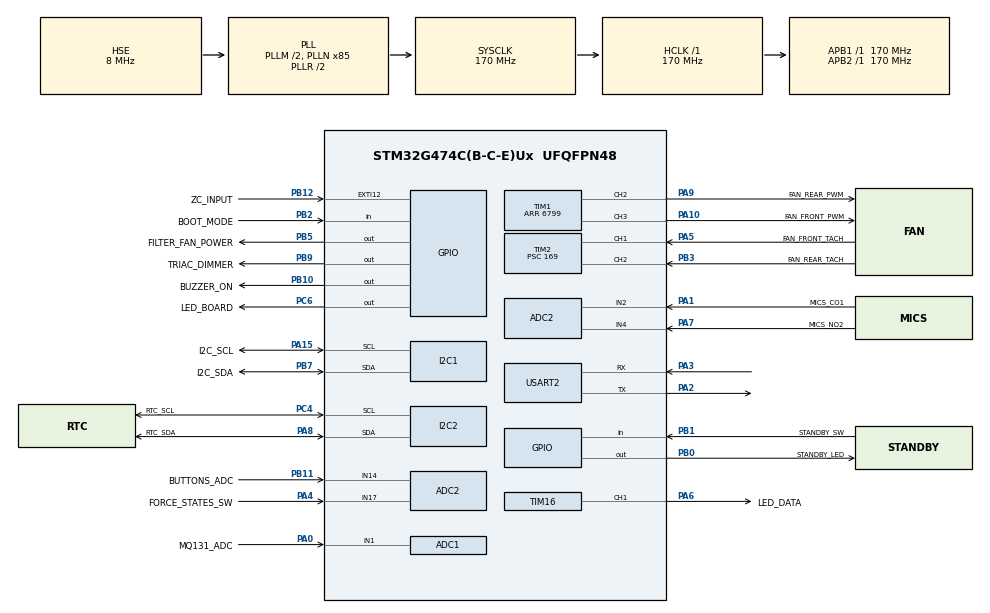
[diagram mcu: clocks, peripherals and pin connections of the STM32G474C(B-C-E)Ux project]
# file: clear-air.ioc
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ADC1.Channel-0\#ChannelRegularConversion=ADC_CHANNEL_1
ADC1.ClockPrescaler=ADC_CLOCK_SYNC_PCLK_DIV4
ADC1.NbrOfConversionFlag=1
ADC1.OffsetNumber-0\#ChannelRegularConversion=ADC_OFFSET_NONE
ADC1.Rank-0\#ChannelRegularConversion=1
ADC1.SamplingTime-0\#ChannelRegularConversion=ADC_SAMPLETIME_640CYCLES_5
ADC1.master=1
ADC2.Channel-0\#ChannelRegularConversion=ADC_CHANNEL_2
ADC2.Channel-1\#ChannelRegularConversion=ADC_CHANNEL_4
ADC2.Channel-2\#ChannelRegularConversion=ADC_CHANNEL_14
ADC2.Channel-3\#ChannelRegularConversion=ADC_CHANNEL_17
ADC2.ClockPrescaler=ADC_CLOCK_SYNC_PCLK_DIV4
ADC2.NbrOfConversion=4
ADC2.NbrOfConversionFlag=1
ADC2.OffsetNumber-0\#ChannelRegularConversion=ADC_OFFSET_NONE
ADC2.OffsetNumber-1\#ChannelRegularConversion=ADC_OFFSET_NONE
ADC2.OffsetNumber-2\#ChannelRegularConversion=ADC_OFFSET_NONE
ADC2.OffsetNumber-3\#ChannelRegularConversion=ADC_OFFSET_NONE
ADC2.Rank-0\#ChannelRegularConversion=1
ADC2.Rank-1\#ChannelRegularConversion=2
ADC2.Rank-2\#ChannelRegularConversion=3
ADC2.Rank-3\#ChannelRegularConversion=4
ADC2.SamplingTime-0\#ChannelRegularConversion=ADC_SAMPLETIME_640CYCLES_5
ADC2.SamplingTime-1\#ChannelRegularConversion=ADC_SAMPLETIME_640CYCLES_5
ADC2.SamplingTime-2\#ChannelRegularConversion=ADC_SAMPLETIME_640CYCLES_5
ADC2.SamplingTime-3\#ChannelRegularConversion=ADC_SAMPLETIME_640CYCLES_5
Dma.ADC2.1.Direction=DMA_PERIPH_TO_MEMORY
Dma.ADC2.1.EventEnable=DISABLE
Dma.ADC2.1.Instance=DMA1_Channel1
Dma.ADC2.1.MemDataAlignment=DMA_MDATAALIGN_WORD
Dma.ADC2.1.MemInc=DMA_MINC_ENABLE
Dma.ADC2.1.Mode=DMA_NORMAL
Dma.ADC2.1.PeriphDataAlignment=DMA_PDATAALIGN_WORD
Dma.ADC2.1.PeriphInc=DMA_PINC_DISABLE
Dma.ADC2.1.Polarity=HAL_DMAMUX_REQ_GEN_RISING
Dma.ADC2.1.Priority=DMA_PRIORITY_LOW
Dma.ADC2.1.RequestNumber=1
Dma.ADC2.1.SignalID=NONE
Dma.ADC2.1.SyncEnable=DISABLE
Dma.ADC2.1.SyncPolarity=HAL_DMAMUX_SYNC_NO_EVENT
Dma.ADC2.1.SyncRequestNumber=1
Dma.ADC2.1.SyncSignalID=NONE
Dma.Request0=TIM16_CH1
Dma.Request1=ADC2
Dma.TIM16_CH1.0.Direction=DMA_MEMORY_TO_PERIPH
Dma.TIM16_CH1.0.EventEnable=DISABLE
Dma.TIM16_CH1.0.Instance=DMA1_Channel2
Dma.TIM16_CH1.0.MemDataAlignment=DMA_MDATAALIGN_HALFWORD
Dma.TIM16_CH1.0.MemInc=DMA_MINC_ENABLE
Dma.TIM16_CH1.0.Mode=DMA_NORMAL
Dma.TIM16_CH1.0.PeriphDataAlignment=DMA_PDATAALIGN_HALFWORD
Dma.TIM16_CH1.0.PeriphInc=DMA_PINC_DISABLE
Dma.TIM16_CH1.0.Polarity=HAL_DMAMUX_REQ_GEN_RISING
Dma.TIM16_CH1.0.Priority=DMA_PRIORITY_LOW
Dma.TIM16_CH1.0.RequestNumber=1
Dma.TIM16_CH1.0.SignalID=NONE
Dma.TIM16_CH1.0.SyncEnable=DISABLE
Dma.TIM16_CH1.0.SyncPolarity=HAL_DMAMUX_SYNC_NO_EVENT
Dma.TIM16_CH1.0.SyncRequestNumber=1
Dma.TIM16_CH1.0.SyncSignalID=NONE
FREERTOS.Queues01=SensorEvents,42,struct CommonMessage,0,Dynamic,NULL,NULL
FREERTOS.Tasks01=defaultTask,24,256,StartDefaultTask,Default,NULL,Dynamic,NULL,NULL;bmeTask,25,512,bmeTaskHandler,As external,NULL,Dynamic,NULL,NULL;msgLoopTask,24,256,mainSensorsMsgLoop,As external,NULL,Dynamic,NULL,NULL;co1no2Task,25,256,co1no2TaskHandler,As external,NULL,Dynamic,NULL,NULL;particleTask,24,512,particleTaskHandler,As external,NULL,Dynamic,NULL,NULL;o3Task,24,512,o3TaskHandler,As external,NULL,Dynamic,NULL,NULL;rtcTask,8,256,rtcTaskHandler,As external,NULL,Dynamic,NULL,NULL
FREERTOS.configCHECK_FOR_STACK_OVERFLOW=2
FREERTOS.configTOTAL_HEAP_SIZE=16384
I2C1.Timing=0x40B285C2
I2C2.Timing=0x40B285C2
Mcu.Family=STM32G4
Mcu.Name=STM32G474C(B-C-E)Ux
Mcu.Package=UFQFPN48
NVIC.DMA1_Channel1_IRQn=true\:5\:0\:false\:false\:true\:true\:false\:true\:true
NVIC.DMA1_Channel2_IRQn=true\:5\:0\:false\:false\:true\:true\:false\:true\:true
NVIC.EXTI15_10_IRQn=true\:5\:0\:false\:false\:true\:true\:true\:true\:true
NVIC.PriorityGroup=NVIC_PRIORITYGROUP_4
NVIC.TIM2_IRQn=true\:5\:0\:false\:false\:true\:true\:true\:true\:true
NVIC.TIM3_IRQn=true\:5\:0\:true\:false\:true\:true\:true\:true\:true
NVIC.TIM6_DAC_IRQn=true\:15\:0\:false\:false\:true\:false\:false\:true\:true
NVIC.TimeBase=TIM6_DAC_IRQn
NVIC.TimeBaseIP=TIM6
NVIC.USART2_IRQn=true\:10\:0\:true\:false\:true\:true\:true\:true\:true
PA0.GPIO_Label=MQ131_ADC
PA0.Mode=IN1-Single-Ended
PA0.Signal=ADC1_IN1
PA1.GPIO_Label=MICS_CO1
PA1.Mode=IN2-Single-Ended
PA1.Signal=ADC2_IN2
PA10.GPIO_Label=FAN_FRONT_PWM
PA10.Signal=S_TIM1_CH3
PA13.Mode=Serial_Wire
PA13.Signal=SYS_JTMS-SWDIO
PA14.Mode=Serial_Wire
PA14.Signal=SYS_JTCK-SWCLK
PA15.GPIO_Label=I2C_SCL
PA15.Mode=I2C
PA15.Signal=I2C1_SCL
PA2.Mode=Asynchronous
PA2.Signal=USART2_TX
PA3.Mode=Asynchronous
PA3.Signal=USART2_RX
PA4.GPIO_Label=FORCE_STATES_SW
PA4.Mode=IN17-Single-Ended
PA4.Signal=ADC2_IN17
PA5.GPIO_Label=FAN_FRONT_TACH
PA5.Signal=S_TIM2_CH1
PA6.GPIO_Label=LED_DATA
PA6.Signal=S_TIM16_CH1
PA7.GPIO_Label=MICS_NO2
PA7.Mode=IN4-Single-Ended
PA7.Signal=ADC2_IN4
PA8.GPIO_Label=RTC_SDA
PA8.Mode=I2C
PA8.Signal=I2C2_SDA
PA9.GPIO_Label=FAN_REAR_PWM
PA9.Signal=S_TIM1_CH2
PB0.GPIO_Label=STANDBY_LED
PB0.PinState=GPIO_PIN_SET
PB0.Signal=GPIO_Output
PB1.GPIO_Label=STANDBY_SW
PB1.GPIO_PuPd=GPIO_PULLUP
PB1.Signal=GPIO_Input
PB10.GPIO_Label=BUZZER_ON
PB10.GPIO_PuPd=GPIO_NOPULL
PB10.Signal=GPIO_Output
PB11.GPIO_Label=BUTTONS_ADC
PB11.Mode=IN14-Single-Ended
PB11.Signal=ADC2_IN14
PB12.GPIO_Label=ZC_INPUT
PB12.GPIO_ModeDefaultEXTI=GPIO_MODE_IT_FALLING
PB12.GPIO_PuPd=GPIO_PULLUP
PB12.Signal=GPXTI12
PB2.GPIO_Label=BOOT_MODE
PB2.GPIO_PuPd=GPIO_PULLUP
PB2.Signal=GPIO_Input
PB3.GPIO_Label=FAN_REAR_TACH
PB3.Signal=S_TIM2_CH2
PB5.GPIO_Label=FILTER_FAN_POWER
PB5.Signal=GPIO_Output
PB7.GPIO_Label=I2C_SDA
PB7.Mode=I2C
PB7.Signal=I2C1_SDA
PB9.GPIO_Label=TRIAC_DIMMER
PB9.GPIO_Speed=GPIO_SPEED_FREQ_HIGH
PB9.Signal=GPIO_Output
PC4.GPIO_Label=RTC_SCL
PC4.Mode=I2C
PC4.Signal=I2C2_SCL
PC6.GPIO_Label=LED_BOARD
PC6.Signal=GPIO_Output
PF0-OSC_IN.Mode=HSE-External-Oscillator
PF0-OSC_IN.Signal=RCC_OSC_IN
PF1-OSC_OUT.Mode=HSE-External-Oscillator
PF1-OSC_OUT.Signal=RCC_OSC_OUT
ProjectManager.HeapSize=0x200
ProjectManager.StackSize=0x400
ProjectManager.TargetToolchain=CMake
RCC.ADC12Freq_Value=170000000
RCC.ADC345Freq_Value=170000000
RCC.AHBFreq_Value=170000000
RCC.APB1Freq_Value=170000000
RCC.APB1TimFreq_Value=170000000
RCC.APB2Freq_Value=170000000
RCC.APB2TimFreq_Value=170000000
RCC.CortexFreq_Value=170000000
RCC.EXTERNAL_CLOCK_VALUE=12288000
RCC.HCLKFreq_Value=170000000
RCC.HSE_VALUE=8000000
RCC.HSI48_VALUE=48000000
RCC.HSI_VALUE=16000000
RCC.LSE_VALUE=32768
RCC.PLLM=RCC_PLLM_DIV2
RCC.PLLN=85
RCC.PLLSourceVirtual=RCC_PLLSOURCE_HSE
RCC.PWR_Regulator_Voltage_Scale=PWR_REGULATOR_VOLTAGE_SCALE1_BOOST
RCC.SYSCLKFreq_VALUE=170000000
RCC.SYSCLKSource=RCC_SYSCLKSOURCE_PLLCLK
RCC.USBFreq_Value=170000000
RCC.VCOOutputFreq_Value=340000000
SH.S_TIM16_CH1.0=TIM16_CH1,PWM Generation1 CH1
SH.S_TIM1_CH2.0=TIM1_CH2,PWM Generation2 CH2
SH.S_TIM1_CH3.0=TIM1_CH3,PWM Generation3 CH3
SH.S_TIM2_CH1.0=TIM2_CH1,Input_Capture1_from_TI1
SH.S_TIM2_CH2.0=TIM2_CH2,Input_Capture2_from_TI2
TIM1.Channel-PWM\ Generation2\ CH2=TIM_CHANNEL_2
TIM1.Channel-PWM\ Generation3\ CH3=TIM_CHANNEL_3
TIM1.PeriodNoDither=6799
TIM16.AutoReloadPreload=TIM_AUTORELOAD_PRELOAD_ENABLE
TIM16.Channel=TIM_CHANNEL_1
TIM16.PeriodNoDither=211
TIM2.Channel-Input_Capture1_from_TI1=TIM_CHANNEL_1
TIM2.Channel-Input_Capture2_from_TI2=TIM_CHANNEL_2
TIM2.Prescaler=169
TIM3.Prescaler=169
USART2.VirtualMode-Asynchronous=VM_ASYNC
VP_FREERTOS_VS_CMSIS_V2.Mode=CMSIS_V2
VP_SYS_VS_DBSignals.Mode=DisableDeadBatterySignals
VP_SYS_VS_tim6.Mode=TIM6
VP_TIM16_VS_ClockSourceINT.Mode=Enable_Timer
VP_TIM1_VS_ClockSourceINT.Mode=Internal
VP_TIM2_VS_ClockSourceINT.Mode=Internal
VP_TIM3_VS_ClockSourceINT.Mode=Internal
board=custom

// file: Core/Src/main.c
/* USER CODE BEGIN Header */
/**
  ******************************************************************************
  * @file           : main.c
  * @brief          : Main program body
  ******************************************************************************
  * @attention
  *
  * Copyright (c) 2026 STMicroelectronics.
  * All rights reserved.
  *
  * This software is licensed under terms that can be found in the LICENSE file
  * in the root directory of this software component.
  * If no LICENSE file comes with this software, it is provided AS-IS.
  *
  ******************************************************************************
  */
/* USER CODE END Header */
#include "main.h"
#include "cmsis_os.h"

/* USER CODE BEGIN Includes */
#include <stdio.h>

#include "event_message.h"
#include "queue.h"
/* USER CODE END Includes */

ADC_HandleTypeDef hadc1;
ADC_HandleTypeDef hadc2;
DMA_HandleTypeDef hdma_adc2;

I2C_HandleTypeDef hi2c1;
I2C_HandleTypeDef hi2c2;

TIM_HandleTypeDef htim1;
TIM_HandleTypeDef htim2;
TIM_HandleTypeDef htim3;
TIM_HandleTypeDef htim16;
DMA_HandleTypeDef hdma_tim16_ch1;

UART_HandleTypeDef huart2;

/* Definitions for defaultTask */
osThreadId_t defaultTaskHandle;
const osThreadAttr_t defaultTask_attributes = {
  .name = "defaultTask",
  .priority = (osPriority_t) osPriorityNormal,
  .stack_size = 256 * 4
};
/* Definitions for bmeTask */
osThreadId_t bmeTaskHandle;
const osThreadAttr_t bmeTask_attributes = {
  .name = "bmeTask",
  .priority = (osPriority_t) osPriorityNormal1,
  .stack_size = 512 * 4
};
/* Definitions for msgLoopTask */
osThreadId_t msgLoopTaskHandle;
const osThreadAttr_t msgLoopTask_attributes = {
  .name = "msgLoopTask",
  .priority = (osPriority_t) osPriorityNormal,
  .stack_size = 256 * 4
};
/* Definitions for co1no2Task */
osThreadId_t co1no2TaskHandle;
const osThreadAttr_t co1no2Task_attributes = {
  .name = "co1no2Task",
  .priority = (osPriority_t) osPriorityNormal1,
  .stack_size = 256 * 4
};
/* Definitions for particleTask */
osThreadId_t particleTaskHandle;
const osThreadAttr_t particleTask_attributes = {
  .name = "particleTask",
  .priority = (osPriority_t) osPriorityNormal,
  .stack_size = 512 * 4
};
/* Definitions for o3Task */
osThreadId_t o3TaskHandle;
const osThreadAttr_t o3Task_attributes = {
  .name = "o3Task",
  .priority = (osPriority_t) osPriorityNormal,
  .stack_size = 512 * 4
};
/* Definitions for rtcTask */
osThreadId_t rtcTaskHandle;
const osThreadAttr_t rtcTask_attributes = {
  .name = "rtcTask",
  .priority = (osPriority_t) osPriorityLow,
  .stack_size = 256 * 4
};
/* Definitions for SensorEvents */
osMessageQueueId_t SensorEventsHandle;
const osMessageQueueAttr_t SensorEvents_attributes = {
  .name = "SensorEvents"
};
/* USER CODE BEGIN PV */
extern QueueHandle_t sensorsQueue;
/* USER CODE END PV */

void SystemClock_Config(void);
static void MX_GPIO_Init(void);
static void MX_DMA_Init(void);
static void MX_ADC1_Init(void);
static void MX_ADC2_Init(void);
static void MX_I2C1_Init(void);
static void MX_TIM3_Init(void);
static void MX_USART2_UART_Init(void);
static void MX_TIM1_Init(void);
static void MX_TIM2_Init(void);
static void MX_I2C2_Init(void);
static void MX_TIM16_Init(void);
void StartDefaultTask(void *argument);
extern void bmeTaskHandler(void *argument);
extern void mainSensorsMsgLoop(void *argument);
extern void co1no2TaskHandler(void *argument);
extern void particleTaskHandler(void *argument);
extern void o3TaskHandler(void *argument);
extern void rtcTaskHandler(void *argument);

/* USER CODE BEGIN PFP */
extern void appStartDefaultTask(void *argument);

#ifdef __GNUC__
#define PUTCHAR_PROTOTYPE int __io_putchar(int ch)
#else
#define PUTCHAR_PROTOTYPE int fputc(int ch, FILE *f)
#endif

PUTCHAR_PROTOTYPE
{
  // Replace huart1 with your actual UART instance (e.g., huart2 or huart3)
  HAL_UART_Transmit(&huart2, (uint8_t *)&ch, 1, HAL_MAX_DELAY);
  return ch;
}
/* USER CODE END PFP */

int main(void)
{

  /* USER CODE BEGIN 1 */
  SystemInit();
  /* USER CODE END 1 */

  /* MCU Configuration--------------------------------------------------------*/

  /* Reset of all peripherals, Initializes the Flash interface and the Systick. */
  HAL_Init();

  /* Configure the system clock */
  SystemClock_Config();

  /* Initialize all configured peripherals */
  MX_GPIO_Init();
  MX_DMA_Init();
  MX_ADC1_Init();
  MX_ADC2_Init();
  MX_I2C1_Init();
  MX_TIM3_Init();
  MX_USART2_UART_Init();
  MX_TIM1_Init();
  MX_TIM2_Init();
  MX_I2C2_Init();
  MX_TIM16_Init();

  /* Init scheduler */
  osKernelInitialize();

  /* Create the queue(s) */
  /* creation of SensorEvents */
  SensorEventsHandle = osMessageQueueNew (42, sizeof(struct CommonMessage), &SensorEvents_attributes);

  /* Create the thread(s) */
  /* creation of defaultTask */
  defaultTaskHandle = osThreadNew(StartDefaultTask, NULL, &defaultTask_attributes);

  /* creation of bmeTask */
  bmeTaskHandle = osThreadNew(bmeTaskHandler, NULL, &bmeTask_attributes);

  /* creation of msgLoopTask */
  msgLoopTaskHandle = osThreadNew(mainSensorsMsgLoop, NULL, &msgLoopTask_attributes);

  /* creation of co1no2Task */
  co1no2TaskHandle = osThreadNew(co1no2TaskHandler, NULL, &co1no2Task_attributes);

  /* creation of particleTask */
  particleTaskHandle = osThreadNew(particleTaskHandler, NULL, &particleTask_attributes);

  /* creation of o3Task */
  o3TaskHandle = osThreadNew(o3TaskHandler, NULL, &o3Task_attributes);

  /* creation of rtcTask */
  rtcTaskHandle = osThreadNew(rtcTaskHandler, NULL, &rtcTask_attributes);

  /* Start scheduler */
  osKernelStart();

  /* We should never get here as control is now taken by the scheduler */

  /* Infinite loop */
  while (1)
  {

  }
}

void SystemClock_Config(void)
{
  RCC_OscInitTypeDef RCC_OscInitStruct = {0};
  RCC_ClkInitTypeDef RCC_ClkInitStruct = {0};

  /** Configure the main internal regulator output voltage
  */
  HAL_PWREx_ControlVoltageScaling(PWR_REGULATOR_VOLTAGE_SCALE1_BOOST);

  /** Initializes the RCC Oscillators according to the specified parameters
  * in the RCC_OscInitTypeDef structure.
  */
  RCC_OscInitStruct.OscillatorType = RCC_OSCILLATORTYPE_HSE;
  RCC_OscInitStruct.HSEState = RCC_HSE_ON;
  RCC_OscInitStruct.PLL.PLLState = RCC_PLL_ON;
  RCC_OscInitStruct.PLL.PLLSource = RCC_PLLSOURCE_HSE;
  RCC_OscInitStruct.PLL.PLLM = RCC_PLLM_DIV2;
  RCC_OscInitStruct.PLL.PLLN = 85;
  RCC_OscInitStruct.PLL.PLLP = RCC_PLLP_DIV2;
  RCC_OscInitStruct.PLL.PLLQ = RCC_PLLQ_DIV2;
  RCC_OscInitStruct.PLL.PLLR = RCC_PLLR_DIV2;
  if (HAL_RCC_OscConfig(&RCC_OscInitStruct) != HAL_OK)
  {
    Error_Handler();
  }

  /** Initializes the CPU, AHB and APB buses clocks
  */
  RCC_ClkInitStruct.ClockType = RCC_CLOCKTYPE_HCLK|RCC_CLOCKTYPE_SYSCLK
                              |RCC_CLOCKTYPE_PCLK1|RCC_CLOCKTYPE_PCLK2;
  RCC_ClkInitStruct.SYSCLKSource = RCC_SYSCLKSOURCE_PLLCLK;
  RCC_ClkInitStruct.AHBCLKDivider = RCC_SYSCLK_DIV1;
  RCC_ClkInitStruct.APB1CLKDivider = RCC_HCLK_DIV1;
  RCC_ClkInitStruct.APB2CLKDivider = RCC_HCLK_DIV1;

  if (HAL_RCC_ClockConfig(&RCC_ClkInitStruct, FLASH_LATENCY_4) != HAL_OK)
  {
    Error_Handler();
  }
}

static void MX_ADC1_Init(void)
{

  ADC_MultiModeTypeDef multimode = {0};
  ADC_ChannelConfTypeDef sConfig = {0};

  /** Common config
  */
  hadc1.Instance = ADC1;
  hadc1.Init.ClockPrescaler = ADC_CLOCK_SYNC_PCLK_DIV4;
  hadc1.Init.Resolution = ADC_RESOLUTION_12B;
  hadc1.Init.DataAlign = ADC_DATAALIGN_RIGHT;
  hadc1.Init.GainCompensation = 0;
  hadc1.Init.ScanConvMode = ADC_SCAN_DISABLE;
  hadc1.Init.EOCSelection = ADC_EOC_SINGLE_CONV;
  hadc1.Init.LowPowerAutoWait = DISABLE;
  hadc1.Init.ContinuousConvMode = DISABLE;
  hadc1.Init.NbrOfConversion = 1;
  hadc1.Init.DiscontinuousConvMode = DISABLE;
  hadc1.Init.ExternalTrigConv = ADC_SOFTWARE_START;
  hadc1.Init.ExternalTrigConvEdge = ADC_EXTERNALTRIGCONVEDGE_NONE;
  hadc1.Init.DMAContinuousRequests = DISABLE;
  hadc1.Init.Overrun = ADC_OVR_DATA_PRESERVED;
  hadc1.Init.OversamplingMode = DISABLE;
  if (HAL_ADC_Init(&hadc1) != HAL_OK)
  {
    Error_Handler();
  }

  /** Configure the ADC multi-mode
  */
  multimode.Mode = ADC_MODE_INDEPENDENT;
  if (HAL_ADCEx_MultiModeConfigChannel(&hadc1, &multimode) != HAL_OK)
  {
    Error_Handler();
  }

  /** Configure Regular Channel
  */
  sConfig.Channel = ADC_CHANNEL_1;
  sConfig.Rank = ADC_REGULAR_RANK_1;
  sConfig.SamplingTime = ADC_SAMPLETIME_640CYCLES_5;
  sConfig.SingleDiff = ADC_SINGLE_ENDED;
  sConfig.OffsetNumber = ADC_OFFSET_NONE;
  sConfig.Offset = 0;
  if (HAL_ADC_ConfigChannel(&hadc1, &sConfig) != HAL_OK)
  {
    Error_Handler();
  }

}

static void MX_ADC2_Init(void)
{

  ADC_ChannelConfTypeDef sConfig = {0};

  /** Common config
  */
  hadc2.Instance = ADC2;
  hadc2.Init.ClockPrescaler = ADC_CLOCK_SYNC_PCLK_DIV4;
  hadc2.Init.Resolution = ADC_RESOLUTION_12B;
  hadc2.Init.DataAlign = ADC_DATAALIGN_RIGHT;
  hadc2.Init.GainCompensation = 0;
  hadc2.Init.ScanConvMode = ADC_SCAN_ENABLE;
  hadc2.Init.EOCSelection = ADC_EOC_SINGLE_CONV;
  hadc2.Init.LowPowerAutoWait = DISABLE;
  hadc2.Init.ContinuousConvMode = DISABLE;
  hadc2.Init.NbrOfConversion = 4;
  hadc2.Init.DiscontinuousConvMode = DISABLE;
  hadc2.Init.ExternalTrigConv = ADC_SOFTWARE_START;
  hadc2.Init.ExternalTrigConvEdge = ADC_EXTERNALTRIGCONVEDGE_NONE;
  hadc2.Init.DMAContinuousRequests = DISABLE;
  hadc2.Init.Overrun = ADC_OVR_DATA_PRESERVED;
  hadc2.Init.OversamplingMode = DISABLE;
  if (HAL_ADC_Init(&hadc2) != HAL_OK)
  {
    Error_Handler();
  }

  /** Configure Regular Channel
  */
  sConfig.Channel = ADC_CHANNEL_2;
  sConfig.Rank = ADC_REGULAR_RANK_1;
  sConfig.SamplingTime = ADC_SAMPLETIME_640CYCLES_5;
  sConfig.SingleDiff = ADC_SINGLE_ENDED;
  sConfig.OffsetNumber = ADC_OFFSET_NONE;
  sConfig.Offset = 0;
  if (HAL_ADC_ConfigChannel(&hadc2, &sConfig) != HAL_OK)
  {
    Error_Handler();
  }

  /** Configure Regular Channel
  */
  sConfig.Channel = ADC_CHANNEL_4;
  sConfig.Rank = ADC_REGULAR_RANK_2;
  if (HAL_ADC_ConfigChannel(&hadc2, &sConfig) != HAL_OK)
  {
    Error_Handler();
  }

  /** Configure Regular Channel
  */
  sConfig.Channel = ADC_CHANNEL_14;
  sConfig.Rank = ADC_REGULAR_RANK_3;
  if (HAL_ADC_ConfigChannel(&hadc2, &sConfig) != HAL_OK)
  {
    Error_Handler();
  }

  /** Configure Regular Channel
  */
  sConfig.Channel = ADC_CHANNEL_17;
  sConfig.Rank = ADC_REGULAR_RANK_4;
  if (HAL_ADC_ConfigChannel(&hadc2, &sConfig) != HAL_OK)
  {
    Error_Handler();
  }

}

static void MX_I2C1_Init(void)
{

  hi2c1.Instance = I2C1;
  hi2c1.Init.Timing = 0x40B285C2;
  hi2c1.Init.OwnAddress1 = 0;
  hi2c1.Init.AddressingMode = I2C_ADDRESSINGMODE_7BIT;
  hi2c1.Init.DualAddressMode = I2C_DUALADDRESS_DISABLE;
  hi2c1.Init.OwnAddress2 = 0;
  hi2c1.Init.OwnAddress2Masks = I2C_OA2_NOMASK;
  hi2c1.Init.GeneralCallMode = I2C_GENERALCALL_DISABLE;
  hi2c1.Init.NoStretchMode = I2C_NOSTRETCH_DISABLE;
  if (HAL_I2C_Init(&hi2c1) != HAL_OK)
  {
    Error_Handler();
  }

  /** Configure Analogue filter
  */
  if (HAL_I2CEx_ConfigAnalogFilter(&hi2c1, I2C_ANALOGFILTER_ENABLE) != HAL_OK)
  {
    Error_Handler();
  }

  /** Configure Digital filter
  */
  if (HAL_I2CEx_ConfigDigitalFilter(&hi2c1, 0) != HAL_OK)
  {
    Error_Handler();
  }

}

static void MX_I2C2_Init(void)
{

  hi2c2.Instance = I2C2;
  hi2c2.Init.Timing = 0x40B285C2;
  hi2c2.Init.OwnAddress1 = 0;
  hi2c2.Init.AddressingMode = I2C_ADDRESSINGMODE_7BIT;
  hi2c2.Init.DualAddressMode = I2C_DUALADDRESS_DISABLE;
  hi2c2.Init.OwnAddress2 = 0;
  hi2c2.Init.OwnAddress2Masks = I2C_OA2_NOMASK;
  hi2c2.Init.GeneralCallMode = I2C_GENERALCALL_DISABLE;
  hi2c2.Init.NoStretchMode = I2C_NOSTRETCH_DISABLE;
  if (HAL_I2C_Init(&hi2c2) != HAL_OK)
  {
    Error_Handler();
  }

  /** Configure Analogue filter
  */
  if (HAL_I2CEx_ConfigAnalogFilter(&hi2c2, I2C_ANALOGFILTER_ENABLE) != HAL_OK)
  {
    Error_Handler();
  }

  /** Configure Digital filter
  */
  if (HAL_I2CEx_ConfigDigitalFilter(&hi2c2, 0) != HAL_OK)
  {
    Error_Handler();
  }

}

static void MX_TIM1_Init(void)
{

  TIM_ClockConfigTypeDef sClockSourceConfig = {0};
  TIM_MasterConfigTypeDef sMasterConfig = {0};
  TIM_OC_InitTypeDef sConfigOC = {0};
  TIM_BreakDeadTimeConfigTypeDef sBreakDeadTimeConfig = {0};

  htim1.Instance = TIM1;
  htim1.Init.Prescaler = 0;
  htim1.Init.CounterMode = TIM_COUNTERMODE_UP;
  htim1.Init.Period = 6799;
  htim1.Init.ClockDivision = TIM_CLOCKDIVISION_DIV1;
  htim1.Init.RepetitionCounter = 0;
  htim1.Init.AutoReloadPreload = TIM_AUTORELOAD_PRELOAD_DISABLE;
  if (HAL_TIM_Base_Init(&htim1) != HAL_OK)
  {
    Error_Handler();
  }
  sClockSourceConfig.ClockSource = TIM_CLOCKSOURCE_INTERNAL;
  if (HAL_TIM_ConfigClockSource(&htim1, &sClockSourceConfig) != HAL_OK)
  {
    Error_Handler();
  }
  if (HAL_TIM_PWM_Init(&htim1) != HAL_OK)
  {
    Error_Handler();
  }
  sMasterConfig.MasterOutputTrigger = TIM_TRGO_RESET;
  sMasterConfig.MasterOutputTrigger2 = TIM_TRGO2_RESET;
  sMasterConfig.MasterSlaveMode = TIM_MASTERSLAVEMODE_DISABLE;
  if (HAL_TIMEx_MasterConfigSynchronization(&htim1, &sMasterConfig) != HAL_OK)
  {
    Error_Handler();
  }
  sConfigOC.OCMode = TIM_OCMODE_PWM1;
  sConfigOC.Pulse = 0;
  sConfigOC.OCPolarity = TIM_OCPOLARITY_HIGH;
  sConfigOC.OCNPolarity = TIM_OCNPOLARITY_HIGH;
  sConfigOC.OCFastMode = TIM_OCFAST_DISABLE;
  sConfigOC.OCIdleState = TIM_OCIDLESTATE_RESET;
  sConfigOC.OCNIdleState = TIM_OCNIDLESTATE_RESET;
  if (HAL_TIM_PWM_ConfigChannel(&htim1, &sConfigOC, TIM_CHANNEL_2) != HAL_OK)
  {
    Error_Handler();
  }
  if (HAL_TIM_PWM_ConfigChannel(&htim1, &sConfigOC, TIM_CHANNEL_3) != HAL_OK)
  {
    Error_Handler();
  }
  sBreakDeadTimeConfig.OffStateRunMode = TIM_OSSR_DISABLE;
  sBreakDeadTimeConfig.OffStateIDLEMode = TIM_OSSI_DISABLE;
  sBreakDeadTimeConfig.LockLevel = TIM_LOCKLEVEL_OFF;
  sBreakDeadTimeConfig.DeadTime = 0;
  sBreakDeadTimeConfig.BreakState = TIM_BREAK_DISABLE;
  sBreakDeadTimeConfig.BreakPolarity = TIM_BREAKPOLARITY_HIGH;
  sBreakDeadTimeConfig.BreakFilter = 0;
  sBreakDeadTimeConfig.BreakAFMode = TIM_BREAK_AFMODE_INPUT;
  sBreakDeadTimeConfig.Break2State = TIM_BREAK2_DISABLE;
  sBreakDeadTimeConfig.Break2Polarity = TIM_BREAK2POLARITY_HIGH;
  sBreakDeadTimeConfig.Break2Filter = 0;
  sBreakDeadTimeConfig.Break2AFMode = TIM_BREAK_AFMODE_INPUT;
  sBreakDeadTimeConfig.AutomaticOutput = TIM_AUTOMATICOUTPUT_DISABLE;
  if (HAL_TIMEx_ConfigBreakDeadTime(&htim1, &sBreakDeadTimeConfig) != HAL_OK)
  {
    Error_Handler();
  }
  HAL_TIM_MspPostInit(&htim1);

}

static void MX_TIM2_Init(void)
{

  TIM_ClockConfigTypeDef sClockSourceConfig = {0};
  TIM_MasterConfigTypeDef sMasterConfig = {0};
  TIM_IC_InitTypeDef sConfigIC = {0};

  htim2.Instance = TIM2;
  htim2.Init.Prescaler = 169;
  htim2.Init.CounterMode = TIM_COUNTERMODE_UP;
  htim2.Init.Period = 4294967295;
  htim2.Init.ClockDivision = TIM_CLOCKDIVISION_DIV1;
  htim2.Init.AutoReloadPreload = TIM_AUTORELOAD_PRELOAD_DISABLE;
  if (HAL_TIM_Base_Init(&htim2) != HAL_OK)
  {
    Error_Handler();
  }
  sClockSourceConfig.ClockSource = TIM_CLOCKSOURCE_INTERNAL;
  if (HAL_TIM_ConfigClockSource(&htim2, &sClockSourceConfig) != HAL_OK)
  {
    Error_Handler();
  }
  if (HAL_TIM_IC_Init(&htim2) != HAL_OK)
  {
    Error_Handler();
  }
  sMasterConfig.MasterOutputTrigger = TIM_TRGO_RESET;
  sMasterConfig.MasterSlaveMode = TIM_MASTERSLAVEMODE_DISABLE;
  if (HAL_TIMEx_MasterConfigSynchronization(&htim2, &sMasterConfig) != HAL_OK)
  {
    Error_Handler();
  }
  sConfigIC.ICPolarity = TIM_INPUTCHANNELPOLARITY_RISING;
  sConfigIC.ICSelection = TIM_ICSELECTION_DIRECTTI;
  sConfigIC.ICPrescaler = TIM_ICPSC_DIV1;
  sConfigIC.ICFilter = 0;
  if (HAL_TIM_IC_ConfigChannel(&htim2, &sConfigIC, TIM_CHANNEL_1) != HAL_OK)
  {
    Error_Handler();
  }
  if (HAL_TIM_IC_ConfigChannel(&htim2, &sConfigIC, TIM_CHANNEL_2) != HAL_OK)
  {
    Error_Handler();
  }

}

static void MX_TIM3_Init(void)
{

  TIM_ClockConfigTypeDef sClockSourceConfig = {0};
  TIM_MasterConfigTypeDef sMasterConfig = {0};

  htim3.Instance = TIM3;
  htim3.Init.Prescaler = 169;
  htim3.Init.CounterMode = TIM_COUNTERMODE_UP;
  htim3.Init.Period = 65535;
  htim3.Init.ClockDivision = TIM_CLOCKDIVISION_DIV1;
  htim3.Init.AutoReloadPreload = TIM_AUTORELOAD_PRELOAD_DISABLE;
  if (HAL_TIM_Base_Init(&htim3) != HAL_OK)
  {
    Error_Handler();
  }
  sClockSourceConfig.ClockSource = TIM_CLOCKSOURCE_INTERNAL;
  if (HAL_TIM_ConfigClockSource(&htim3, &sClockSourceConfig) != HAL_OK)
  {
    Error_Handler();
  }
  sMasterConfig.MasterOutputTrigger = TIM_TRGO_RESET;
  sMasterConfig.MasterSlaveMode = TIM_MASTERSLAVEMODE_DISABLE;
  if (HAL_TIMEx_MasterConfigSynchronization(&htim3, &sMasterConfig) != HAL_OK)
  {
    Error_Handler();
  }

}

static void MX_TIM16_Init(void)
{

  TIM_OC_InitTypeDef sConfigOC = {0};
  TIM_BreakDeadTimeConfigTypeDef sBreakDeadTimeConfig = {0};

  htim16.Instance = TIM16;
  htim16.Init.Prescaler = 0;
  htim16.Init.CounterMode = TIM_COUNTERMODE_UP;
  htim16.Init.Period = 211;
  htim16.Init.ClockDivision = TIM_CLOCKDIVISION_DIV1;
  htim16.Init.RepetitionCounter = 0;
  htim16.Init.AutoReloadPreload = TIM_AUTORELOAD_PRELOAD_ENABLE;
  if (HAL_TIM_Base_Init(&htim16) != HAL_OK)
  {
    Error_Handler();
  }
  if (HAL_TIM_PWM_Init(&htim16) != HAL_OK)
  {
    Error_Handler();
  }
  sConfigOC.OCMode = TIM_OCMODE_PWM1;
  sConfigOC.Pulse = 0;
  sConfigOC.OCPolarity = TIM_OCPOLARITY_HIGH;
  sConfigOC.OCNPolarity = TIM_OCNPOLARITY_HIGH;
  sConfigOC.OCFastMode = TIM_OCFAST_DISABLE;
  sConfigOC.OCIdleState = TIM_OCIDLESTATE_RESET;
  sConfigOC.OCNIdleState = TIM_OCNIDLESTATE_RESET;
  if (HAL_TIM_PWM_ConfigChannel(&htim16, &sConfigOC, TIM_CHANNEL_1) != HAL_OK)
  {
    Error_Handler();
  }
  sBreakDeadTimeConfig.OffStateRunMode = TIM_OSSR_DISABLE;
  sBreakDeadTimeConfig.OffStateIDLEMode = TIM_OSSI_DISABLE;
  sBreakDeadTimeConfig.LockLevel = TIM_LOCKLEVEL_OFF;
  sBreakDeadTimeConfig.DeadTime = 0;
  sBreakDeadTimeConfig.BreakState = TIM_BREAK_DISABLE;
  sBreakDeadTimeConfig.BreakPolarity = TIM_BREAKPOLARITY_HIGH;
  sBreakDeadTimeConfig.BreakFilter = 0;
  sBreakDeadTimeConfig.AutomaticOutput = TIM_AUTOMATICOUTPUT_DISABLE;
  if (HAL_TIMEx_ConfigBreakDeadTime(&htim16, &sBreakDeadTimeConfig) != HAL_OK)
  {
    Error_Handler();
  }
  HAL_TIM_MspPostInit(&htim16);

}

static void MX_USART2_UART_Init(void)
{

  huart2.Instance = USART2;
  huart2.Init.BaudRate = 115200;
  huart2.Init.WordLength = UART_WORDLENGTH_8B;
  huart2.Init.StopBits = UART_STOPBITS_1;
  huart2.Init.Parity = UART_PARITY_NONE;
  huart2.Init.Mode = UART_MODE_TX_RX;
  huart2.Init.HwFlowCtl = UART_HWCONTROL_NONE;
  huart2.Init.OverSampling = UART_OVERSAMPLING_16;
  huart2.Init.OneBitSampling = UART_ONE_BIT_SAMPLE_DISABLE;
  huart2.Init.ClockPrescaler = UART_PRESCALER_DIV1;
  huart2.AdvancedInit.AdvFeatureInit = UART_ADVFEATURE_NO_INIT;
  if (HAL_UART_Init(&huart2) != HAL_OK)
  {
    Error_Handler();
  }
  if (HAL_UARTEx_SetTxFifoThreshold(&huart2, UART_TXFIFO_THRESHOLD_1_8) != HAL_OK)
  {
    Error_Handler();
  }
  if (HAL_UARTEx_SetRxFifoThreshold(&huart2, UART_RXFIFO_THRESHOLD_1_8) != HAL_OK)
  {
    Error_Handler();
  }
  if (HAL_UARTEx_DisableFifoMode(&huart2) != HAL_OK)
  {
    Error_Handler();
  }

}

static void MX_DMA_Init(void)
{

  /* DMA controller clock enable */
  __HAL_RCC_DMAMUX1_CLK_ENABLE();
  __HAL_RCC_DMA1_CLK_ENABLE();

  /* DMA interrupt init */
  /* DMA1_Channel1_IRQn interrupt configuration */
  HAL_NVIC_SetPriority(DMA1_Channel1_IRQn, 5, 0);
  HAL_NVIC_EnableIRQ(DMA1_Channel1_IRQn);
  /* DMA1_Channel2_IRQn interrupt configuration */
  HAL_NVIC_SetPriority(DMA1_Channel2_IRQn, 5, 0);
  HAL_NVIC_EnableIRQ(DMA1_Channel2_IRQn);

}

static void MX_GPIO_Init(void)
{
  GPIO_InitTypeDef GPIO_InitStruct = {0};

  /* GPIO Ports Clock Enable */
  __HAL_RCC_GPIOF_CLK_ENABLE();
  __HAL_RCC_GPIOA_CLK_ENABLE();
  __HAL_RCC_GPIOC_CLK_ENABLE();
  __HAL_RCC_GPIOB_CLK_ENABLE();

  /*Configure GPIO pin Output Level */
  HAL_GPIO_WritePin(STANDBY_LED_GPIO_Port, STANDBY_LED_Pin, GPIO_PIN_SET);

  /*Configure GPIO pin Output Level */
  HAL_GPIO_WritePin(GPIOB, BUZZER_ON_Pin|FILTER_FAN_POWER_Pin|TRIAC_DIMMER_Pin, GPIO_PIN_RESET);

  /*Configure GPIO pin Output Level */
  HAL_GPIO_WritePin(LED_BOARD_GPIO_Port, LED_BOARD_Pin, GPIO_PIN_RESET);

  /*Configure GPIO pins : STANDBY_LED_Pin BUZZER_ON_Pin FILTER_FAN_POWER_Pin */
  GPIO_InitStruct.Pin = STANDBY_LED_Pin|BUZZER_ON_Pin|FILTER_FAN_POWER_Pin;
  GPIO_InitStruct.Mode = GPIO_MODE_OUTPUT_PP;
  GPIO_InitStruct.Pull = GPIO_NOPULL;
  GPIO_InitStruct.Speed = GPIO_SPEED_FREQ_LOW;
  HAL_GPIO_Init(GPIOB, &GPIO_InitStruct);

  /*Configure GPIO pins : STANDBY_SW_Pin BOOT_MODE_Pin */
  GPIO_InitStruct.Pin = STANDBY_SW_Pin|BOOT_MODE_Pin;
  GPIO_InitStruct.Mode = GPIO_MODE_INPUT;
  GPIO_InitStruct.Pull = GPIO_PULLUP;
  HAL_GPIO_Init(GPIOB, &GPIO_InitStruct);

  /*Configure GPIO pin : ZC_INPUT_Pin */
  GPIO_InitStruct.Pin = ZC_INPUT_Pin;
  GPIO_InitStruct.Mode = GPIO_MODE_IT_FALLING;
  GPIO_InitStruct.Pull = GPIO_PULLUP;
  HAL_GPIO_Init(ZC_INPUT_GPIO_Port, &GPIO_InitStruct);

  /*Configure GPIO pin : LED_BOARD_Pin */
  GPIO_InitStruct.Pin = LED_BOARD_Pin;
  GPIO_InitStruct.Mode = GPIO_MODE_OUTPUT_PP;
  GPIO_InitStruct.Pull = GPIO_NOPULL;
  GPIO_InitStruct.Speed = GPIO_SPEED_FREQ_LOW;
  HAL_GPIO_Init(LED_BOARD_GPIO_Port, &GPIO_InitStruct);

  /*Configure GPIO pin : TRIAC_DIMMER_Pin */
  GPIO_InitStruct.Pin = TRIAC_DIMMER_Pin;
  GPIO_InitStruct.Mode = GPIO_MODE_OUTPUT_PP;
  GPIO_InitStruct.Pull = GPIO_NOPULL;
  GPIO_InitStruct.Speed = GPIO_SPEED_FREQ_HIGH;
  HAL_GPIO_Init(TRIAC_DIMMER_GPIO_Port, &GPIO_InitStruct);

  /* EXTI interrupt init*/
  HAL_NVIC_SetPriority(EXTI15_10_IRQn, 5, 0);
  HAL_NVIC_EnableIRQ(EXTI15_10_IRQn);

}

void StartDefaultTask(void *argument)
{
  /* USER CODE BEGIN 5 */
  appStartDefaultTask(argument);
  /* Infinite loop */
  for(;;)
  {
    osDelay(1);
  }
  /* USER CODE END 5 */
}

void HAL_TIM_PeriodElapsedCallback(TIM_HandleTypeDef *htim)
{
  if (htim->Instance == TIM6)
  {
    HAL_IncTick();
  }
}

void Error_Handler(void)
{
  __disable_irq();
  while (1)
  {
  }
}

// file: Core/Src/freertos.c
/* USER CODE BEGIN Header */
/**
  ******************************************************************************
  * File Name          : freertos.c
  * Description        : Code for freertos applications
  ******************************************************************************
  * @attention
  *
  * Copyright (c) 2026 STMicroelectronics.
  * All rights reserved.
  *
  * This software is licensed under terms that can be found in the LICENSE file
  * in the root directory of this software component.
  * If no LICENSE file comes with this software, it is provided AS-IS.
  *
  ******************************************************************************
  */
/* USER CODE END Header */

#include "FreeRTOS.h"
#include "task.h"
#include "main.h"

/* Hook prototypes */
void vApplicationStackOverflowHook(xTaskHandle xTask, signed char *pcTaskName);

/* USER CODE BEGIN 4 */
void vApplicationStackOverflowHook(xTaskHandle xTask, signed char *pcTaskName)
{
    (void) xTask;
    (void) pcTaskName;

    /* CRITICAL: Place a breakpoint on the line below in CLion */
    __asm("bkpt #0");

   /* Run time stack overflow checking is performed if
   configCHECK_FOR_STACK_OVERFLOW is defined to 1 or 2. This hook function is
   called if a stack overflow is detected. */
}
/* USER CODE END 4 */

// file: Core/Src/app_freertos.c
/* USER CODE BEGIN Header */
/**
  ******************************************************************************
  * File Name          : app_freertos.c
  * Description        : Code for freertos applications
  ******************************************************************************
  * @attention
  *
  * Copyright (c) 2026 STMicroelectronics.
  * All rights reserved.
  *
  * This software is licensed under terms that can be found in the LICENSE file
  * in the root directory of this software component.
  * If no LICENSE file comes with this software, it is provided AS-IS.
  *
  ******************************************************************************
  */
/* USER CODE END Header */

#include "FreeRTOS.h"
#include "task.h"
#include "main.h"

/* Hook prototypes */
void vApplicationStackOverflowHook(xTaskHandle xTask, signed char *pcTaskName);

/* USER CODE BEGIN 4 */
void vApplicationStackOverflowHook(xTaskHandle xTask, signed char *pcTaskName)
{
   /* Run time stack overflow checking is performed if
   configCHECK_FOR_STACK_OVERFLOW is defined to 1 or 2. This hook function is
   called if a stack overflow is detected. */
}
/* USER CODE END 4 */
